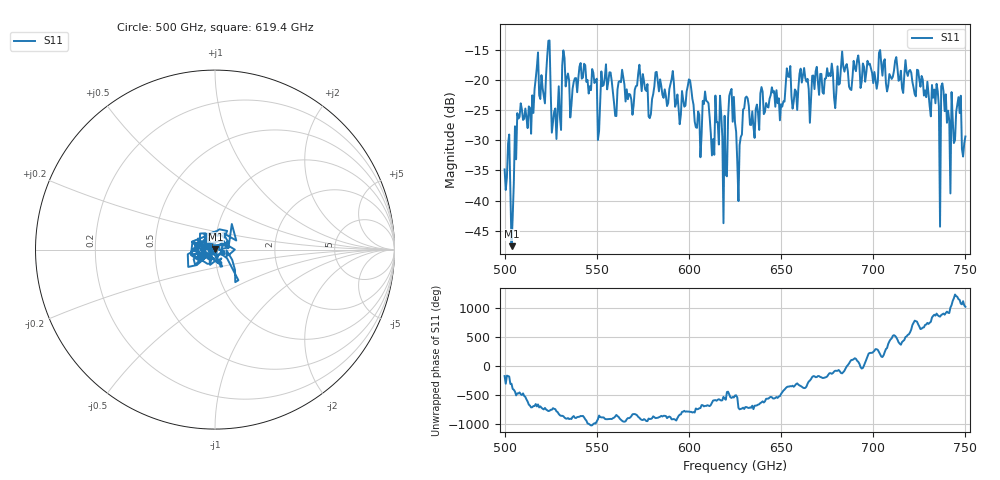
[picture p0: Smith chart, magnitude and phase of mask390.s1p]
!Created with skrf (http://scikit-rf.org).
# GHz S MA R 50.0
!freq magS11 angS11
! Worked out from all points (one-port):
!   401 points, 500 GHz to 750 GHz, reference 50 ohm
!   lowest |S11| = -47.6 dB at 503.8 GHz (marker M1), VSWR 1.01, Z = 50.2 + j0.343 ohm
!   |S11| at or under -10 dB: start of sweep to end of sweep
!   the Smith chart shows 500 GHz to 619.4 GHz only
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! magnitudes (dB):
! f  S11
! 500 GHz  -34.8
! 503.8 GHz  -47.6
! 508.1 GHz  -26.1
! 523.8 GHz  -13.4
! 526.9 GHz  -25.2
! 531.2 GHz  -17.5
! 550.6 GHz  -29.9
! 562.5 GHz  -20.1
! 593.8 GHz  -22.4
! 600 GHz  -19.8
! 605.6 GHz  -25.7
! 609.4 GHz  -23.4
! 612.5 GHz  -32.5
! 616.9 GHz  -22.6
! 619.4 GHz  -25.9
! 622.5 GHz  -21.9
! 625 GHz  -27.0
! 627.5 GHz  -30.8
! 630.6 GHz  -22.9
! 656.2 GHz  -24.7
! 687.5 GHz  -21.5
! 718.8 GHz  -19.3
! 734.4 GHz  -20.6
! 735 GHz  -21.8
! 738.1 GHz  -21.8
! 743.1 GHz  -26.5
! 746.2 GHz  -22.8
! 750 GHz  -29.4
